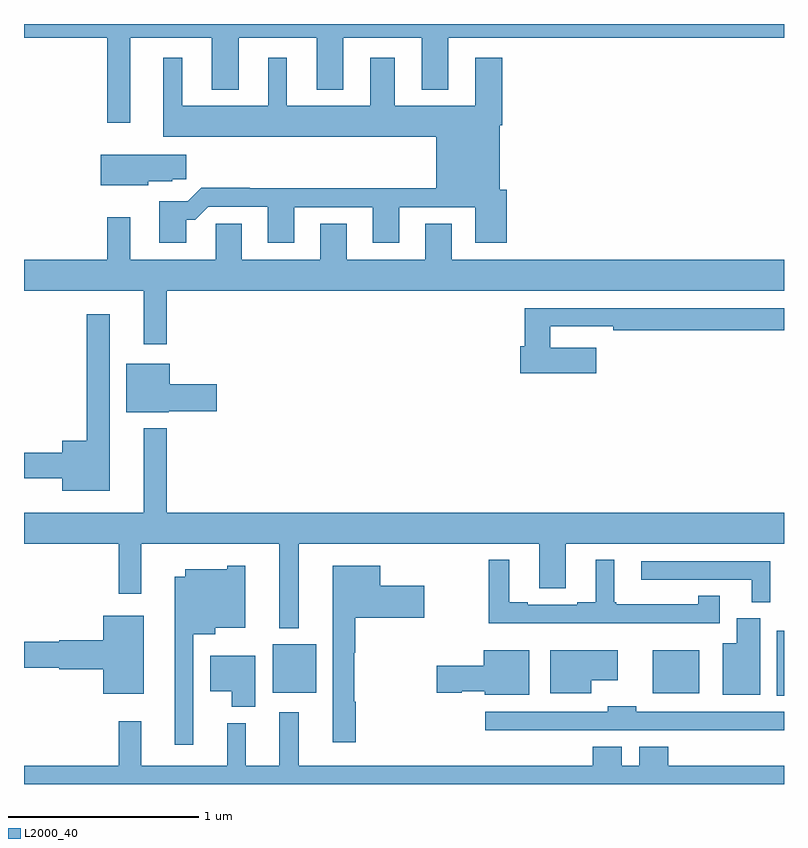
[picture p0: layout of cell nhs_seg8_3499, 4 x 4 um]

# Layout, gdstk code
import gdstk
lib = gdstk.Library(unit=1e-6, precision=1e-09)
def R(c, l, rs):  # rectangles x0, y0, x1, y1
    for r in rs: c.add(gdstk.rectangle(r[:2], r[2:], *l))
def P(c, l, *ps):  # polygons
    for p in ps: c.add(gdstk.Polygon(p, *l))
L2000_40 = (2000, 40)

nhs_seg8_3499 = lib.new_cell('nhs_seg8_3499')
R(nhs_seg8_3499, L2000_40, [(330.962,1118.365,331,1118.707), (330.308,1118.378,330.553,1118.605), (328.31,1118.381,328.537,1118.635)])
P(nhs_seg8_3499, L2000_40, [(327.559,1121.828),(327.989,1121.828),(327.989,1121.555),(328.129,1121.555),(328.129,1121.828),(328.541,1121.828),(328.541,1121.555),(328.681,1121.555),(328.681,1121.828),(329.093,1121.828),(329.093,1121.555),(329.233,1121.555),(329.233,1121.828),(331,1121.828),(331,1121.9),(327,1121.9),(327,1121.828),(327.438,1121.828),(327.438,1121.379),(327.559,1121.379)],
  [(327.853,1120.871),(327.902,1120.871),(327.969,1120.938),(328.283,1120.938),(328.283,1120.749),(328.423,1120.749),(328.423,1120.935),(328.835,1120.935),(328.835,1120.749),(328.975,1120.749),(328.975,1120.935),(329.375,1120.935),(329.375,1120.749),(329.54,1120.749),(329.54,1121.028),(329.503,1121.028),(329.503,1121.366),(329.516,1121.366),(329.516,1121.722),(329.375,1121.722),(329.375,1121.47),(328.951,1121.47),(328.951,1121.722),(328.823,1121.722),(328.823,1121.47),(328.384,1121.47),(328.384,1121.722),(328.286,1121.722),(328.286,1121.47),(327.832,1121.47),(327.832,1121.722),(327.734,1121.722),(327.734,1121.306),(329.171,1121.306),(329.171,1121.036),(328.187,1121.036),(328.187,1121.039),(327.932,1121.039),(327.861,1120.968),(327.713,1120.968),(327.713,1120.749),(327.853,1120.749)],
  [(327.654,1121.072),(327.78,1121.072),(327.78,1121.083),(327.853,1121.083),(327.853,1121.212),(327.404,1121.212),(327.404,1121.051),(327.654,1121.051)],
  [(327.751,1120.496),(331,1120.496),(331,1120.66),(329.251,1120.66),(329.251,1120.85),(329.111,1120.85),(329.111,1120.66),(328.699,1120.66),(328.699,1120.85),(328.559,1120.85),(328.559,1120.66),(328.147,1120.66),(328.147,1120.85),(328.008,1120.85),(328.008,1120.66),(327.559,1120.66),(327.559,1120.882),(327.438,1120.882),(327.438,1120.66),(327,1120.66),(327,1120.496),(327.629,1120.496),(327.629,1120.215),(327.751,1120.215)],
  [(330.013,1120.195),(329.771,1120.195),(329.771,1120.308),(330.1,1120.308),(330.1,1120.288),(331,1120.288),(331,1120.404),(329.635,1120.404),(329.635,1120.203),(329.612,1120.203),(329.612,1120.061),(330.013,1120.061)],
  [(327.451,1120.372),(327.33,1120.372),(327.33,1119.706),(327.2,1119.706),(327.2,1119.644),(327,1119.644),(327,1119.509),(327.2,1119.509),(327.2,1119.443),(327.451,1119.443)],
  [(327.762,1119.863),(328.015,1119.863),(328.015,1120.005),(327.766,1120.005),(327.766,1120.111),(327.539,1120.111),(327.539,1119.857),(327.762,1119.857)],
  [(328.447,1119.164),(329.711,1119.164),(329.711,1118.929),(329.851,1118.929),(329.851,1119.164),(331,1119.164),(331,1119.328),(327.751,1119.328),(327.751,1119.772),(327.629,1119.772),(327.629,1119.328),(327,1119.328),(327,1119.164),(327.499,1119.164),(327.499,1118.901),(327.618,1118.901),(327.618,1119.164),(328.343,1119.164),(328.343,1118.72),(328.447,1118.72)],
  [(330.661,1118.891),(330.548,1118.891),(330.548,1118.845),(330.118,1118.845),(330.118,1118.857),(330.106,1118.857),(330.106,1119.079),(330.008,1119.079),(330.008,1118.857),(329.912,1118.857),(329.912,1118.844),(329.65,1118.844),(329.65,1118.857),(329.554,1118.857),(329.554,1119.079),(329.445,1119.079),(329.445,1118.747),(330.661,1118.747)],
  [(330.928,1119.072),(330.249,1119.072),(330.249,1118.976),(330.83,1118.976),(330.83,1118.857),(330.928,1118.857)],
  [(328.747,1118.333),(328.739,1118.333),(328.739,1118.59),(328.744,1118.59),(328.744,1118.774),(329.107,1118.774),(329.107,1118.944),(328.876,1118.944),(328.876,1119.049),(328.625,1119.049),(328.625,1118.121),(328.747,1118.121)],
  [(327.891,1118.687),(328.006,1118.687),(328.006,1118.723),(328.165,1118.723),(328.165,1119.049),(328.071,1119.049),(328.071,1119.031),(327.848,1119.031),(327.848,1118.992),(327.794,1118.992),(327.794,1118.106),(327.891,1118.106)],
  [(327.631,1118.785),(327.416,1118.785),(327.416,1118.656),(327.186,1118.656),(327.186,1118.648),(327,1118.648),(327,1118.512),(327.186,1118.512),(327.186,1118.504),(327.416,1118.504),(327.416,1118.375),(327.631,1118.375)],
  [(330.874,1118.772),(330.752,1118.772),(330.752,1118.641),(330.677,1118.641),(330.677,1118.369),(330.874,1118.369)],
  [(329.986,1118.447),(330.124,1118.447),(330.124,1118.605),(329.771,1118.605),(329.771,1118.378),(329.986,1118.378)],
  [(329.659,1118.605),(329.42,1118.605),(329.42,1118.522),(329.172,1118.522),(329.172,1118.38),(329.304,1118.38),(329.304,1118.387),(329.424,1118.387),(329.424,1118.369),(329.659,1118.369)],
  [(328.216,1118.575),(327.98,1118.575),(327.98,1118.387),(328.094,1118.387),(328.094,1118.306),(328.216,1118.306)],
  [(329.972,1118.184),(330.475,1118.184),(330.475,1118.183),(331,1118.183),(331,1118.28),(330.222,1118.28),(330.222,1118.308),(330.072,1118.308),(330.072,1118.28),(329.427,1118.28),(329.427,1118.183),(329.972,1118.183)],
  [(328.07,1118.221),(328.07,1117.996),(327.617,1117.996),(327.617,1118.23),(327.499,1118.23),(327.499,1117.996),(327,1117.996),(327,1117.9),(331,1117.9),(331,1117.996),(330.392,1117.996),(330.392,1118.095),(330.239,1118.095),(330.239,1117.996),(330.145,1117.996),(330.145,1118.095),(329.993,1118.095),(329.993,1117.996),(328.447,1117.996),(328.447,1118.278),(328.343,1118.278),(328.343,1117.996),(328.168,1117.996),(328.168,1118.221)])

lib.write_gds('nhs_seg8_3499.gds')
